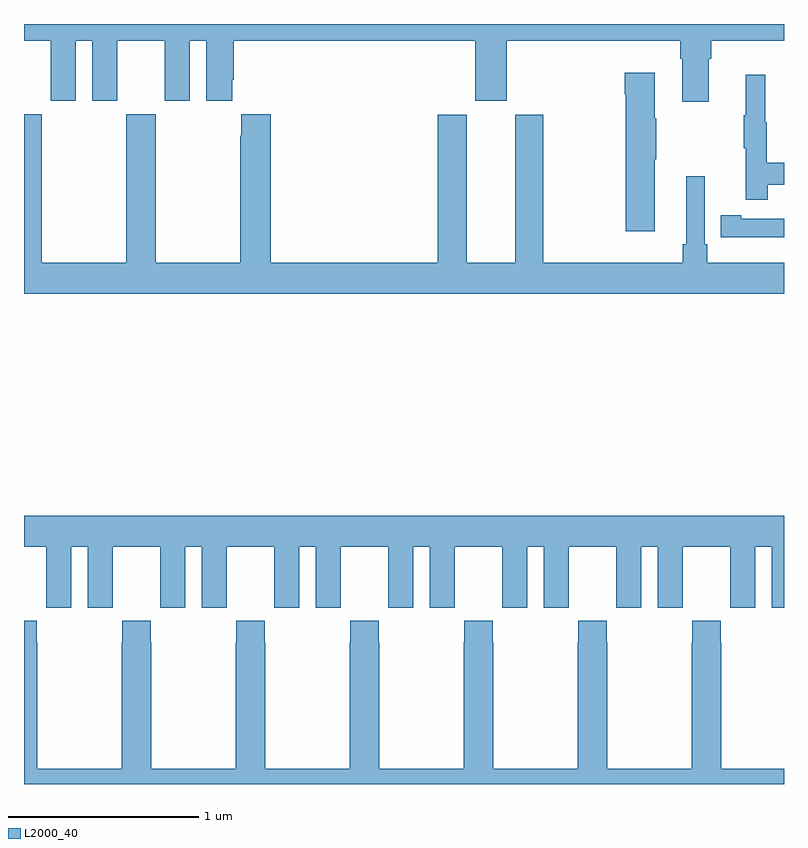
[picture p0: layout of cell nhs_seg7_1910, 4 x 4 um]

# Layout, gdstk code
import gdstk
lib = gdstk.Library(unit=1e-6, precision=1e-09)
def P(c, l, *ps):  # polygons
    for p in ps: c.add(gdstk.Polygon(p, *l))
L2000_40 = (2000, 40)

nhs_seg7_1910 = lib.new_cell('nhs_seg7_1910')
P(nhs_seg7_1910, L2000_40, [(242.605,1037.816),(242.618,1037.816),(242.618,1037.912),(243,1037.912),(243,1038),(239,1038),(239,1037.912),(239.141,1037.912),(239.141,1037.595),(239.272,1037.595),(239.272,1037.912),(239.36,1037.912),(239.36,1037.595),(239.491,1037.595),(239.491,1037.912),(239.741,1037.912),(239.741,1037.595),(239.872,1037.595),(239.872,1037.912),(239.96,1037.912),(239.96,1037.595),(240.097,1037.595),(240.097,1037.707),(240.104,1037.707),(240.104,1037.912),(241.376,1037.912),(241.376,1037.595),(241.54,1037.595),(241.54,1037.912),(242.453,1037.912),(242.453,1037.816),(242.465,1037.816),(242.465,1037.592),(242.605,1037.592)],
  [(242.32,1037.287),(242.328,1037.287),(242.328,1037.504),(242.32,1037.504),(242.32,1037.743),(242.162,1037.743),(242.162,1037.63),(242.167,1037.63),(242.167,1036.908),(242.32,1036.908)],
  [(242.915,1037.154),(243,1037.154),(243,1037.27),(242.908,1037.27),(242.908,1037.484),(242.9,1037.484),(242.9,1037.734),(242.798,1037.734),(242.798,1037.521),(242.787,1037.521),(242.787,1037.347),(242.798,1037.347),(242.798,1037.076),(242.915,1037.076)],
  [(243,1036.744),(242.597,1036.744),(242.597,1036.84),(242.583,1036.84),(242.583,1037.2),(242.486,1037.2),(242.486,1036.84),(242.467,1036.84),(242.467,1036.744),(241.734,1036.744),(241.734,1037.523),(241.586,1037.523),(241.586,1036.744),(241.33,1036.744),(241.33,1037.523),(241.178,1037.523),(241.178,1036.744),(240.299,1036.744),(240.299,1037.524),(240.143,1037.524),(240.143,1037.411),(240.139,1037.411),(240.139,1036.744),(239.694,1036.744),(239.694,1037.524),(239.539,1037.524),(239.539,1036.744),(239.094,1036.744),(239.094,1037.524),(239,1037.524),(239,1036.58),(243,1036.58)],
  [(243,1036.974),(242.776,1036.974),(242.776,1036.994),(242.668,1036.994),(242.668,1036.878),(242.776,1036.878),(242.776,1036.877),(243,1036.877)],
  [(239,1035.248),(239.117,1035.248),(239.117,1035.04),(239.118,1035.04),(239.118,1034.928),(239.248,1034.928),(239.248,1035.248),(239.336,1035.248),(239.336,1034.928),(239.466,1034.928),(239.466,1035.04),(239.467,1035.04),(239.467,1035.248),(239.717,1035.248),(239.717,1035.04),(239.718,1035.04),(239.718,1034.928),(239.848,1034.928),(239.848,1035.248),(239.936,1035.248),(239.936,1034.928),(240.066,1034.928),(240.066,1035.04),(240.067,1035.04),(240.067,1035.248),(240.317,1035.248),(240.317,1035.04),(240.318,1035.04),(240.318,1034.928),(240.448,1034.928),(240.448,1035.248),(240.536,1035.248),(240.536,1034.928),(240.666,1034.928),(240.666,1035.04),(240.667,1035.04),(240.667,1035.248),(240.917,1035.248),(240.917,1035.04),(240.918,1035.04),(240.918,1034.928),(241.048,1034.928),(241.048,1035.248),(241.136,1035.248),(241.136,1034.928),(241.266,1034.928),(241.266,1035.04),(241.267,1035.04),(241.267,1035.248),(241.517,1035.248),(241.517,1035.04),(241.518,1035.04),(241.518,1034.928),(241.648,1034.928),(241.648,1035.248),(241.736,1035.248),(241.736,1034.928),(241.866,1034.928),(241.866,1035.04),(241.867,1035.04),(241.867,1035.248),(242.117,1035.248),(242.117,1035.04),(242.118,1035.04),(242.118,1034.928),(242.248,1034.928),(242.248,1035.248),(242.336,1035.248),(242.336,1034.928),(242.466,1034.928),(242.466,1035.04),(242.467,1035.04),(242.467,1035.248),(242.717,1035.248),(242.717,1035.04),(242.718,1035.04),(242.718,1034.928),(242.848,1034.928),(242.848,1035.248),(242.936,1035.248),(242.936,1034.928),(243,1034.928),(243,1035.412),(239,1035.412)],
  [(243,1034.08),(242.67,1034.08),(242.67,1034.747),(242.667,1034.747),(242.667,1034.86),(242.517,1034.86),(242.517,1034.747),(242.515,1034.747),(242.515,1034.08),(242.07,1034.08),(242.07,1034.747),(242.067,1034.747),(242.067,1034.86),(241.917,1034.86),(241.917,1034.747),(241.915,1034.747),(241.915,1034.08),(241.47,1034.08),(241.47,1034.747),(241.467,1034.747),(241.467,1034.86),(241.317,1034.86),(241.317,1034.747),(241.315,1034.747),(241.315,1034.08),(240.87,1034.08),(240.87,1034.747),(240.867,1034.747),(240.867,1034.86),(240.717,1034.86),(240.717,1034.747),(240.715,1034.747),(240.715,1034.08),(240.27,1034.08),(240.27,1034.747),(240.267,1034.747),(240.267,1034.86),(240.117,1034.86),(240.117,1034.747),(240.115,1034.747),(240.115,1034.08),(239.67,1034.08),(239.67,1034.747),(239.667,1034.747),(239.667,1034.86),(239.517,1034.86),(239.517,1034.747),(239.515,1034.747),(239.515,1034.08),(239.07,1034.08),(239.07,1034.747),(239.067,1034.747),(239.067,1034.86),(239,1034.86),(239,1034),(243,1034)])

lib.write_gds('nhs_seg7_1910.gds')
